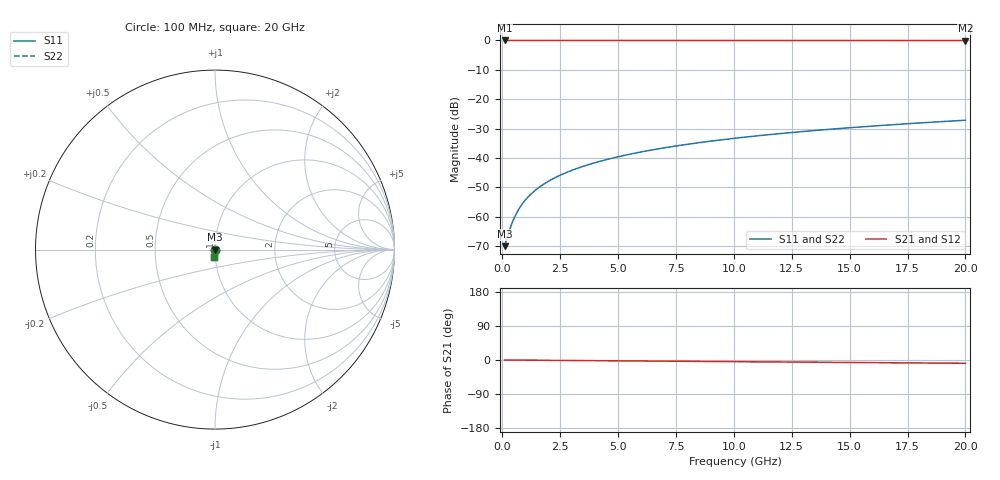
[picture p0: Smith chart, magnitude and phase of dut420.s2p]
! Touchstone file exported from HFSS 2026.1.0
!  File:  C:/ffzhzh/LocalFiles/Ansys_Project_Files/temp_train_TSV_420_1783020820_51716.aedt
!  Generated:  03:35:13 AM Jul  3, 2026
!  Design:  TSV
!  Project:  temp_train_TSV_420_1783020820_51716
! Variables:
!  h_bsmrdl = 2um
!  h_ox = 20um
!  h_rdl = 5um
!  h_sub = 90.58um
!  h_tmrdl = 5um
!  h_tsv = 90.58um
!  h_via = 3um
!  l_bsmrdl = 300um
!  l_sub = 413.46um
!  l_tmrdl = 200um
!  m_sub = 200um
!  pitch = 20.85um
!  r_tsv = 6.73um
!  s_tmrdl = 10um
!  w_bsmrdl = 18um
!  w_sub = 500um
!  w_tmrdl = 12um
!  x_tsv_center1 = 206um
!  x_tsv_center2 = 524um
!  x_tsv_center3 = 736um
!  x_tsv_center4 = 1054um
!  x_tsv_center5 = 1266um
!  x_tsv_center6 = 1584um
# GHz S MA R 50.000000
! Terminal data exported
! Port[1] = TSV1_1_T1
! Port[2] = TSV1_1_T2
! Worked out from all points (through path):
!   200 points, 100 MHz to 20 GHz, reference 50 ohm
!   highest |S21| = 0.00 dB at 100 MHz (marker M1); lowest = 0.0 dB at 20 GHz (marker M2)
!   group delay of S21, straight-line fit = 1.2 ps
!   lowest |S11| = -70.0 dB at 100 MHz (marker M3), VSWR 1.00, Z = 50 - j0.015 ohm
!   |S11| at or under -10 dB: start of sweep to end of sweep
!   |S22| runs from -70.0 to -27.1 dB; largest |S21 - S12| = 7.8e-15
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0.1  0.0003169 -28.2  0.9997 -0.0  0.9997 -0.0  0.0003169 -28.2
! Gamma 0 0 0 0
! Port Impedance 50 0 50 0
0.3  0.0005784 -54.8  0.9997 -0.1  0.9997 -0.1  0.0005784 -54.8
0.4  0.0007487 -60.4  0.9996 -0.2  0.9996 -0.2  0.0007487 -60.4
0.5  0.0009329 -64.2  0.9996 -0.2  0.9996 -0.2  0.0009329 -64.2
0.6  0.001126 -67.0  0.9996 -0.3  0.9996 -0.3  0.001126 -67.0
0.7  0.001326 -69.2  0.9995 -0.3  0.9995 -0.3  0.001326 -69.2
0.9  0.001735 -72.5  0.9995 -0.4  0.9995 -0.4  0.001735 -72.5
1.2  0.00236 -75.9  0.9994 -0.5  0.9994 -0.5  0.00236 -75.9
1.4  0.00278 -77.6  0.9994 -0.6  0.9994 -0.6  0.00278 -77.6
1.6  0.0032 -78.8  0.9993 -0.7  0.9993 -0.7  0.0032 -78.8
2.1  0.004254 -81.1  0.9993 -0.9  0.9993 -0.9  0.004254 -81.1
2.7  0.005528 -82.8  0.9992 -1.2  0.9992 -1.2  0.005528 -82.8
3.5  0.007242 -84.3  0.9991 -1.5  0.9991 -1.5  0.007242 -84.3
4.2  0.008758 -85.3  0.999 -1.9  0.999 -1.9  0.008758 -85.3
5  0.01051 -86.2  0.9988 -2.2  0.9988 -2.2  0.01051 -86.2
5.9  0.01249 -87.0  0.9987 -2.6  0.9987 -2.6  0.01249 -87.0
6.8  0.01448 -87.8  0.9986 -3.0  0.9986 -3.0  0.01448 -87.8
8.3  0.01782 -89.0  0.9984 -3.6  0.9984 -3.6  0.01782 -89.0
10.1  0.02183 -90.2  0.9982 -4.4  0.9982 -4.4  0.02183 -90.2
13.4  0.02919 -92.2  0.9977 -5.8  0.9977 -5.8  0.02919 -92.2
16.7  0.03657 -94.1  0.9973 -7.3  0.9973 -7.3  0.03657 -94.1
20  0.04395 -95.7  0.9968 -8.7  0.9968 -8.7  0.04395 -95.7
